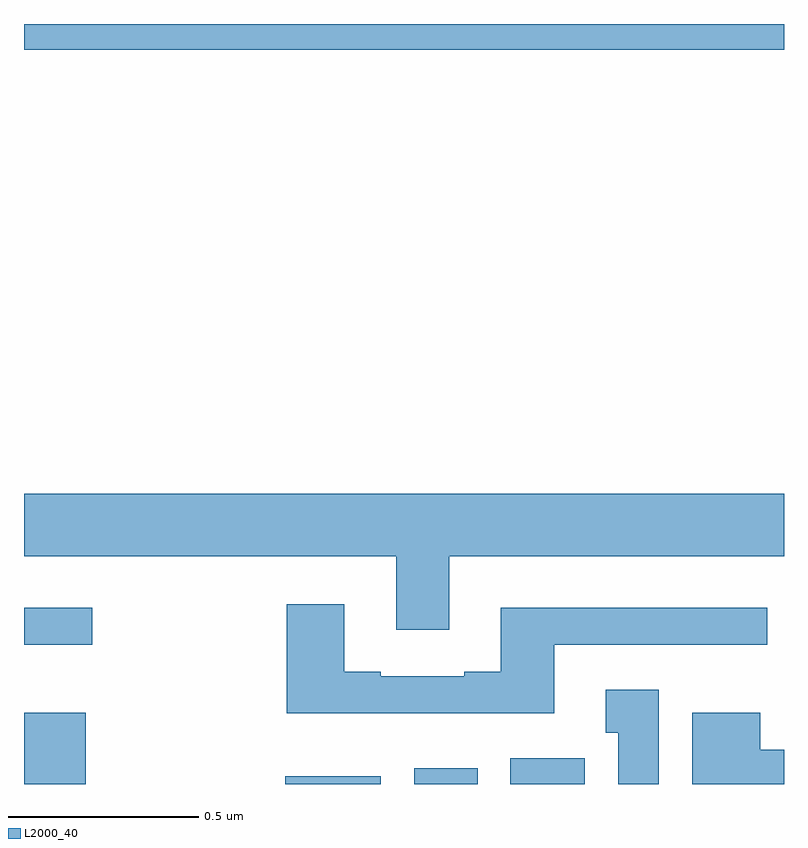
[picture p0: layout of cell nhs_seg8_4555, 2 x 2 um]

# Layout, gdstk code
import gdstk
lib = gdstk.Library(unit=1e-6, precision=1e-09)
def R(c, l, rs):  # rectangles x0, y0, x1, y1
    for r in rs: c.add(gdstk.rectangle(r[:2], r[2:], *l))
def P(c, l, *ps):  # polygons
    for p in ps: c.add(gdstk.Polygon(p, *l))
L2000_40 = (2000, 40)

nhs_seg8_4555 = lib.new_cell('nhs_seg8_4555')
R(nhs_seg8_4555, L2000_40, [(172,1115.9,172.162,1116.088), (172.688,1115.9,172.939,1115.92), (173.027,1115.9,173.194,1115.941), (173.279,1115.9,173.476,1115.968), (172,1116.267,172.18,1116.364), (172,1117.832,174,1117.9)])
P(nhs_seg8_4555, L2000_40, [(173.119,1116.5),(174,1116.5),(174,1116.664),(172,1116.664),(172,1116.5),(172.979,1116.5),(172.979,1116.306),(173.119,1116.306)],
  [(173.395,1116.267),(173.956,1116.267),(173.956,1116.364),(173.255,1116.364),(173.255,1116.196),(173.159,1116.196),(173.159,1116.183),(172.939,1116.183),(172.939,1116.196),(172.843,1116.196),(172.843,1116.373),(172.691,1116.373),(172.691,1116.086),(173.395,1116.086)],
  [(173.671,1116.148),(173.531,1116.148),(173.531,1116.035),(173.564,1116.035),(173.564,1115.9),(173.671,1115.9)],
  [(174,1115.99),(173.938,1115.99),(173.938,1116.088),(173.759,1116.088),(173.759,1115.9),(174,1115.9)])

lib.write_gds('nhs_seg8_4555.gds')
